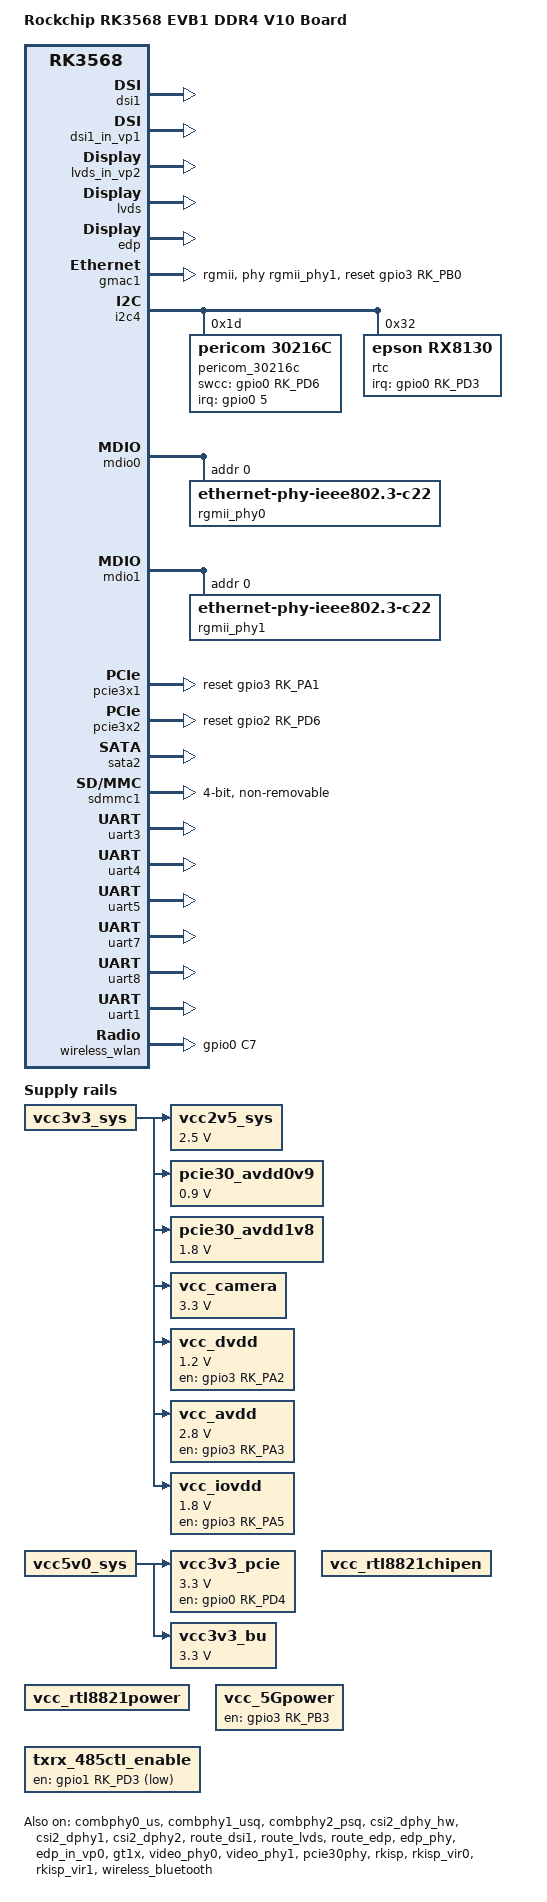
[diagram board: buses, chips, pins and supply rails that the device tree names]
// SPDX-License-Identifier: (GPL-2.0+ OR MIT)
/*
 * Copyright (c) 2020 Rockchip Electronics Co., Ltd.
 *
 */

/dts-v1/;

#include <dt-bindings/gpio/gpio.h>
#include <dt-bindings/pinctrl/rockchip.h>
#include "rk3568.dtsi"
#include "rk3568-evb.dtsi"

/ {
	model = "Rockchip RK3568 EVB1 DDR4 V10 Board";
	compatible = "rockchip,rk3568-evb1-ddr4-v10", "rockchip,rk3568";

	vcc2v5_sys: vcc2v5-ddr {
		compatible = "regulator-fixed";
		regulator-name = "vcc2v5-sys";
		regulator-always-on;
		regulator-boot-on;
		regulator-min-microvolt = <2500000>;
		regulator-max-microvolt = <2500000>;
		vin-supply = <&vcc3v3_sys>;
	};

	/*vcc3v3_vga: vcc3v3-vga {
		compatible = "regulator-fixed";
		regulator-name = "vcc3v3_vga";
		regulator-always-on;
		regulator-boot-on;
		gpio = <&gpio0 RK_PD5 GPIO_ACTIVE_HIGH>;
		enable-active-high;
		vin-supply = <&vcc3v3_sys>;
	};*/

	pcie30_avdd0v9: pcie30-avdd0v9 {
		compatible = "regulator-fixed";
		regulator-name = "pcie30_avdd0v9";
		regulator-always-on;
		regulator-boot-on;
		regulator-min-microvolt = <900000>;
		regulator-max-microvolt = <900000>;
		vin-supply = <&vcc3v3_sys>;
	};

	pcie30_avdd1v8: pcie30-avdd1v8 {
		compatible = "regulator-fixed";
		regulator-name = "pcie30_avdd1v8";
		regulator-always-on;
		regulator-boot-on;
		regulator-min-microvolt = <1800000>;
		regulator-max-microvolt = <1800000>;
		vin-supply = <&vcc3v3_sys>;
	};

	vcc3v3_pcie: gpio-regulator {
		compatible = "regulator-fixed";
		regulator-name = "vcc3v3_pcie";
		regulator-min-microvolt = <3300000>;
		regulator-max-microvolt = <3300000>;
		regulator-always-on;
		regulator-boot-on;
		enable-active-high;
		gpio = <&gpio0 RK_PD4 GPIO_ACTIVE_HIGH>;
		startup-delay-us = <5000>;
		vin-supply = <&vcc5v0_sys>;
	};

	vcc3v3_bu: vcc3v3-bu {
		compatible = "regulator-fixed";
		regulator-name = "vcc3v3_bu";
		regulator-always-on;
		regulator-boot-on;
		regulator-min-microvolt = <3300000>;
		regulator-max-microvolt = <3300000>;
		vin-supply = <&vcc5v0_sys>;
	};

	vcc_camera: vcc-camera-regulator {
		compatible = "regulator-fixed";
		//gpio = <&gpio0 RK_PC1 GPIO_ACTIVE_HIGH>;
		//pinctrl-names = "default";
		//pinctrl-0 = <&camera_pwr>;
		regulator-name = "vcc_camera";
		enable-active-high;
		regulator-always-on;
		regulator-boot-on;
		regulator-min-microvolt = <3300000>;
		regulator-max-microvolt = <3300000>;
		vin-supply = <&vcc3v3_sys>;
	};
	vcc_dvdd: vcc-dvdd {
		compatible = "regulator-fixed";
		regulator-name = "vcc_dvdd";
		regulator-min-microvolt = <1200000>;
		regulator-max-microvolt = <1200000>;
		enable-active-high;
        regulator-always-on;
        regulator-boot-on;
		gpio = <&gpio3 RK_PA2 GPIO_ACTIVE_HIGH>;
		pinctrl-names = "default";
		pinctrl-0 = <&vcc_dvdd_en>;
		vin-supply = <&vcc3v3_sys>;
	};
	vcc_avdd: vcc-avdd {
		compatible = "regulator-fixed";
		regulator-name = "vcc_avdd";
		regulator-min-microvolt = <2800000>;
		regulator-max-microvolt = <2800000>;
		enable-active-high;
        regulator-always-on;
        regulator-boot-on;
		gpio = <&gpio3 RK_PA3 GPIO_ACTIVE_HIGH>;
		pinctrl-names = "default";
		pinctrl-0 = <&vcc_avdd_en>;
		vin-supply = <&vcc3v3_sys>;
	};
	vcc_iovdd: vcc-iovdd {
		compatible = "regulator-fixed";
		regulator-name = "vcc_iovdd";
		regulator-min-microvolt = <1800000>;
		regulator-max-microvolt = <1800000>;
		enable-active-high;
        regulator-always-on;
        regulator-boot-on;
		gpio = <&gpio3 RK_PA5 GPIO_ACTIVE_HIGH>;
		pinctrl-names = "default";
		pinctrl-0 = <&vcc_iovdd_en>;
		vin-supply = <&vcc3v3_sys>;
    };
	vcc_rtl8821chipen: vcc-rtl8821chipen {
        compatible = "regulator-fixed";
        regulator-name = "chipen-rtl8821";
        regulator-always-on;
        pinctrl-names = "default";
        pinctrl-0 = <&gpio_chipen_rtl8821>;
    };
    vcc_rtl8821power:vcc-rtl8821power {
        compatible = "regulator-fixed";
        regulator-name = "power-rtl8821";
        regulator-always-on;
        pinctrl-names = "default";
        pinctrl-0 = <&gpio_power_rtl8821>;
    };
	vcc_5Gpower:vcc_5Gpower {
		compatible = "regulator-fixed";
		regulator-name = "out5G_power";
		enable-active-high;
		regulator-always-on;
		pinctrl-names = "default";
		pinctrl-0 = <&gpio_5G_power>;
		gpio = <&gpio3 RK_PB3 GPIO_ACTIVE_HIGH>;
		status = "okay";
   };
	txrx_485ctl_enable:txrx_485ctl_enable {
        compatible = "regulator-fixed";
		regulator-name = "txrx_485ctl_enable";
		enable-active-low;
		regulator-always-on;
		pinctrl-names = "default";
		pinctrl-0 = <&txrx_485_enable>;
		gpio = <&gpio1 RK_PD3 GPIO_ACTIVE_HIGH>;
		status = "okay";
	};
};

&combphy0_us {
	status = "okay";
};

&combphy1_usq {
	status = "okay";
};

&combphy2_psq {
	status = "okay";
};

&csi2_dphy_hw {
	status = "okay";
};

&csi2_dphy0 {
	status = "disabled";
};

&csi2_dphy1 {
	status = "okay";
	ports {
		#address-cells = <1>;
		#size-cells = <0>;
		port@0 {
			reg = <0>;
			#address-cells = <1>;
			#size-cells = <0>;
			dphy1_in: endpoint@1 {
				reg = <1>;
				remote-endpoint = <&cam_out0>;
				data-lanes = <1 2>;
			};
		};
		port@1 {
			reg = <1>;
			#address-cells = <1>;
			#size-cells = <0>;
			dphy1_out: endpoint@1 {
				reg = <1>;
				remote-endpoint = <&isp0_in>;
			};
		};
	};
};

&csi2_dphy2 {
	status = "okay";
	ports {
		#address-cells = <1>;
		#size-cells = <0>;
		port@0 {
			reg = <0>;
			#address-cells = <1>;
			#size-cells = <0>;
			dphy2_in: endpoint@1 {
				reg = <1>;
				remote-endpoint = <&cam_out1>;
				data-lanes = <1 2>;
			};
		};
		port@1 {
			reg = <1>;
			#address-cells = <1>;
			#size-cells = <0>;
			dphy2_out: endpoint@1 {
				reg = <1>;
				remote-endpoint = <&isp1_in>;
			};
		};
	};
};

/*
 * video_phy0 needs to be enabled
 * when dsi0 is enabled
 */
&dsi0 {
	status = "disabled";
};

&dsi0_in_vp0 {
	status = "disabled";
};

&dsi0_in_vp1 {
	status = "disabled";
};

&dsi0_panel {
	power-supply = <&vcc3v3_lcd0_n>;
};

/*
 * video_phy1 needs to be enabled
 * when dsi1 is enabled
 */
&dsi1 {
	status = "okay";
};

&dsi1_in_vp0 {
	status = "disabled";
};

&dsi1_in_vp1 {
	status = "okay";
};

&route_dsi1 {
    status = "okay";
    connect = <&vp1_out_dsi1>;
};

&route_hdmi {
	status = "disabled";
	connect = <&vp0_out_hdmi>;
};

&route_lvds {
	status = "okay";
	connect = <&vp2_out_lvds>;
};

&route_edp {
	status = "okay";
	connect = <&vp0_out_edp>;
};

&lvds_in_vp2 {
	status = "okay";
};

&lvds{
	status = "okay";
};

&edp {
	force-hpd;
	//hpd-gpios = <&gpio0 RK_PC2 GPIO_ACTIVE_HIGH>;
	status = "okay";
};

&edp_phy {
	status = "okay";
};

&edp_in_vp0 {
	status = "okay";
};

&edp_in_vp1 {
	status = "disabled";
};

&gmac0 {
	phy-mode = "rgmii";
	clock_in_out = "output";

	snps,reset-gpio = <&gpio2 RK_PC6 GPIO_ACTIVE_HIGH>;
	snps,reset-active-high;
	/* Reset time is 20ms, 100ms for rtl8211f */
	snps,reset-delays-us = <0 20000 100000>;

	assigned-clocks = <&cru SCLK_GMAC0_RX_TX>, <&cru SCLK_GMAC0>;
	assigned-clock-parents = <&cru SCLK_GMAC0_RGMII_SPEED>, <&cru CLK_MAC0_2TOP>;
	assigned-clock-rates = <0>, <125000000>;

	pinctrl-names = "default";
	pinctrl-0 = <&gmac0_miim
		     &gmac0_tx_bus2
		     &gmac0_rx_bus2
		     &gmac0_rgmii_clk
		     &gmac0_rgmii_bus>;

	tx_delay = <0x3c>;
	rx_delay = <0x2f>;

	phy-handle = <&rgmii_phy0>;
	status = "disabled";
};

&gmac1 {
	phy-mode = "rgmii";
	clock_in_out = "output";

	snps,reset-gpio = <&gpio3 RK_PB0 GPIO_ACTIVE_HIGH>;
	snps,reset-active-high;
	/* Reset time is 20ms, 100ms for rtl8211f */
	snps,reset-delays-us = <0 20000 100000>;

	assigned-clocks = <&cru SCLK_GMAC1_RX_TX>, <&cru SCLK_GMAC1>;
	assigned-clock-parents = <&cru SCLK_GMAC1_RGMII_SPEED>, <&cru CLK_MAC1_2TOP>;
	assigned-clock-rates = <0>, <125000000>;

	pinctrl-names = "default";
	pinctrl-0 = <&gmac1m1_miim
		     &gmac1m1_tx_bus2
		     &gmac1m1_rx_bus2
		     &gmac1m1_rgmii_clk
		     &gmac1m1_rgmii_bus>;

	tx_delay = <0x4f>;
	rx_delay = <0x26>;

	phy-handle = <&rgmii_phy1>;
	status = "ok";
};

/*
 * power-supply should switche to vcc3v3_lcd1_n
 * when mipi panel is connected to dsi1.
 */
&gt1x {
    status = "okay";
	power-supply = <&vcc3v3_lcd0_n>;
};

&i2c4 {
	status = "okay";
	pinctrl-0 = <&i2c4m1_xfer>;
	pericom_30216c:pericom_30216c@1D {
		status = "okay";
		compatible = "pericom,30216c";
		reg = <0x1D>;
		pinctrl-names = "default";
		pinctrl-0 = <&prm_30216_gpio>;
		interrupt-parent = <&gpio0>;
		interrupts = <5 IRQ_TYPE_LEVEL_LOW>;
		swcc-gpios = <&gpio0 RK_PD6 GPIO_ACTIVE_HIGH>;
	};
	rtc@32 {
		reg = <0x32>;
		compatible = "epson,rx8130";
		interrupt-parent = <&gpio0>;
		interrupts = <RK_PD3 IRQ_TYPE_LEVEL_LOW>;
		pinctrl-names = "default";
                pinctrl-0 = <&rx8130_gpio>;
		//int-gpio = <&gpio0 RK_PD3 GPIO_ACTIVE_HIGH>;
	};
};

&mdio0 {
	rgmii_phy0: phy@0 {
		compatible = "ethernet-phy-ieee802.3-c22";
		reg = <0x0>;
	};
};

&mdio1 {
	rgmii_phy1: phy@0 {
		compatible = "ethernet-phy-ieee802.3-c22";
		reg = <0x0>;
	};
};

&video_phy0 {
	status = "okay";
};

&video_phy1 {
	status = "okay";
};

&pcie30phy {
	status = "okay";
};

&pcie3x1 {
    rockchip,bifurcation;
    reset-gpios = <&gpio3 RK_PA1 GPIO_ACTIVE_HIGH>;
    status = "okay";
};

&pcie3x2 {
	rockchip,bifurcation;
	reset-gpios = <&gpio2 RK_PD6 GPIO_ACTIVE_HIGH>;
	status = "okay";
};

&pinctrl {
	pericom_30216c {
		prm_30216_gpio:prm-30216-gpio {
			rockchip,pins =
				<0 RK_PA5 RK_FUNC_GPIO &pcfg_pull_up>,
				<0 RK_PD6 RK_FUNC_GPIO &pcfg_pull_none>;
		};
	};
	rx8130_gpio {
		rx8130_gpio:rx8130_gpio{
			rockchip,pins = <0 RK_PD3 RK_FUNC_GPIO &pcfg_pull_up>;
		};
	};
	gpio-5Gpower {
		gpio_5G_power:gpio-5G-power {
			 rockchip,pins = <3 RK_PB3 RK_FUNC_GPIO &pcfg_pull_none>;
		};
	};
	gpio-rtl8821 {
        gpio_chipen_rtl8821: gpio-chipen-rtl8821 {
            rockchip,pins = <2 RK_PC6 RK_FUNC_GPIO &pcfg_output_high>;
          };
        gpio_power_rtl8821:gpio-power-rtl8821 {
            rockchip,pins = <0 RK_PC1 RK_FUNC_GPIO &pcfg_output_high>;
          };
	};
	gpio-485enable {
		txrx_485_enable:txrx_485_enable {
			rockchip,pins = <1 RK_PD3 RK_FUNC_GPIO &pcfg_pull_none>;
		};
	};
	cam_en{
		camera_pwr: camera-pwr {
			rockchip,pins =
				/* camera power en */
				<0 RK_PC1 RK_FUNC_GPIO &pcfg_pull_none>;
		};
		vcc_iovdd_en: vcc-iovdd-en {
			rockchip,pins =
				/* camera power en */
				<3 RK_PA5 RK_FUNC_GPIO &pcfg_pull_none>;
		};
		vcc_dvdd_en: vcc-dvdd-en {
			rockchip,pins =
				/* camera power en */
				<3 RK_PA2 RK_FUNC_GPIO &pcfg_pull_none>;
		};
		vcc_avdd_en: vcc-avdd-en {
			rockchip,pins =
				/* camera power en */
				<3 RK_PA3 RK_FUNC_GPIO &pcfg_pull_none>;
		};
	};
	headphone {
		hp_det: hp-det {
			rockchip,pins = <3 RK_PA6 RK_FUNC_GPIO &pcfg_pull_down>;
		};
	};

	wireless-wlan {
		wifi_host_wake_irq: wifi-host-wake-irq {
			rockchip,pins = <0 RK_PC7 RK_FUNC_GPIO &pcfg_pull_down>;
		};
	};

	wireless-bluetooth {
		uart1_gpios: uart1-gpios {
			rockchip,pins = <2 RK_PB5 RK_FUNC_GPIO &pcfg_pull_none>;
		};
	};
};

&rk809_sound {
	hp-det-gpio = <&gpio3 RK_PA6 GPIO_ACTIVE_LOW>;
};

&rkisp {
	status = "okay";
};

&rkisp_mmu {
	status = "okay";
    max-input = <3264 2448 30>;
};

&rkisp_vir0 {
	status = "okay";
	/* s5k4h7->csi2_dphy1->isp_vir0 */
	port {
		#address-cells = <1>;
		#size-cells = <0>;

		isp0_in: endpoint@0 {
			reg = <0>;
			remote-endpoint = <&dphy1_out>;
		};
	};
};

&rkisp_vir1 {
	status = "okay";
	/* s5k4h7_cam2->csi2_dphy2->csi2->vicap */
	/* vicap sditf->isp_vir1 */
	port {
		#address-cells = <1>;
		#size-cells = <0>;
		isp1_in: endpoint@0 {
			reg = <0>;
			remote-endpoint = <&dphy2_out>;
		};
	};
};

&route_dsi0 {
	status = "disabled";
	connect = <&vp1_out_dsi0>;
};

&route_edp {
	status = "okay";
	connect = <&vp0_out_edp>;
};

&sata2 {
	status = "okay";
};

&sdmmc1 {
	max-frequency = <150000000>;
	no-sd;
	no-mmc;
	bus-width = <4>;
//	disable-wp;
	cap-sd-highspeed;
	cap-sdio-irq;
	keep-power-in-suspend;
	mmc-pwrseq = <&sdio_pwrseq>;
	non-removable;
	pinctrl-names = "default";
	pinctrl-0 = <&sdmmc1_bus4 &sdmmc1_cmd &sdmmc1_clk>;
	sd-uhs-sdr104;
	status = "okay";
};

&spdif_8ch {
	status = "disabled";
	pinctrl-names = "default";
	pinctrl-0 = <&spdifm1_tx>;
};

&uart3 {
       status = "okay";
       pinctrl-names = "default";
       pinctrl-0 = <&uart3m1_xfer>;
};

&uart4 {
       status = "okay";
       pinctrl-names = "default";
       pinctrl-0 = <&uart4m1_xfer>;
};

&uart5 {
       status = "okay";
       pinctrl-names = "default";
       pinctrl-0 = <&uart5m1_xfer>;
};

&uart7 {
	status = "okay";
	pinctrl-names = "default";
	pinctrl-0 = <&uart7m1_xfer>;
};

&uart8 {
       status = "okay";
       pinctrl-names = "default";
       pinctrl-0 = <&uart8m1_xfer>;
};

&uart1 {
	status = "okay";
	pinctrl-names = "default";
	pinctrl-0 = <&uart1m0_xfer &uart1m0_ctsn>;
};

&vcc3v3_lcd0_n {
	//gpio = <&gpio0 RK_PC7 GPIO_ACTIVE_HIGH>;
	enable-active-high;
};

&vcc3v3_lcd1_n {
	//gpio = <&gpio0 RK_PC5 GPIO_ACTIVE_HIGH>;
	enable-active-high;
};

&wireless_wlan {
	pinctrl-names = "default";
	pinctrl-0 = <&wifi_host_wake_irq>;
	WIFI,host_wake_irq = <&gpio0 RK_PC7 GPIO_ACTIVE_HIGH>;
};

&wireless_bluetooth {
	compatible = "bluetooth-platdata";
	clocks = <&rk809 1>;
	clock-names = "ext_clock";
	//wifi-bt-power-toggle;
	uart_rts_gpios = <&gpio2 RK_PB5 GPIO_ACTIVE_LOW>;
	pinctrl-names = "default", "rts_gpio";
	pinctrl-0 = <&uart1m0_rtsn>;
	pinctrl-1 = <&uart1_gpios>;
	BT,reset_gpio    = <&gpio0 RK_PC5 GPIO_ACTIVE_HIGH>;
//	BT,wake_gpio     = <&gpio3 RK_PA2 GPIO_ACTIVE_HIGH>;
//	BT,wake_host_irq = <&gpio3 RK_PA1 GPIO_ACTIVE_HIGH>;
	status = "okay";
};
